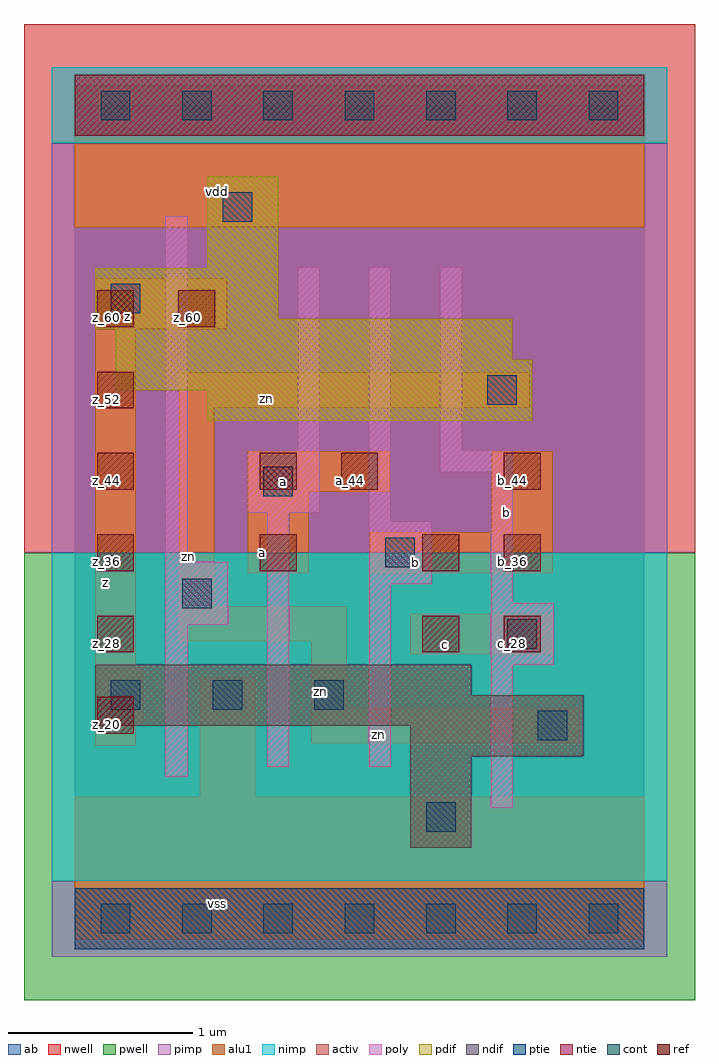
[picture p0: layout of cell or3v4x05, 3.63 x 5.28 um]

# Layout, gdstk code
import gdstk
lib = gdstk.Library(unit=1e-6, precision=2.5e-09)
def R(c, l, rs):  # rectangles x0, y0, x1, y1
    for r in rs: c.add(gdstk.rectangle(r[:2], r[2:], *l))
def A(c, l, x, y, w, h, nx, ny, dx, dy):  # array of equal rectangles
    R(c, l, [(x+i*dx, y+j*dy, x+i*dx+w, y+j*dy+h) for i in range(nx) for j in range(ny)])
ndif = (3, 0)
pdif = (4, 0)
ntie = (5, 0)
ptie = (6, 0)
ref = (24, 0)
cont = (25, 0)
pwell = (41, 0)
nwell = (42, 0)
activ = (43, 0)
pimp = (44, 0)
nimp = (45, 0)
poly = (46, 0)
alu1 = (49, 0)
ab = (63, 0)

or3v4x05 = lib.new_cell('or3v4x05')
R(or3v4x05, ndif, [(1.815,0.385,2.145,0.88), (1.815,0.88,2.75,1.045), (0.11,1.045,2.75,1.21), (0.11,1.21,2.145,1.375)])
R(or3v4x05, pdif, [(0.715,2.695,2.475,2.86), (0.22,2.86,2.475,3.025), (0.22,3.025,2.365,3.19), (0.11,3.19,2.365,3.245), (0.11,3.245,1.1,3.52), (0.715,3.52,1.1,4.015)])
R(or3v4x05, ntie, [(0,4.235,3.08,4.565)])
R(or3v4x05, ptie, [(0,-0.165,3.08,0.165)])
A(or3v4x05, ref, 2.32, 1.44, 0.2, 0.2, 1, 3, 0, 0.44)
A(or3v4x05, ref, 0.12, 1.88, 0.2, 0.2, 3, 1, 0.88, 0)
A(or3v4x05, ref, 0.12, 2.32, 0.2, 0.2, 1, 3, 0, 0.44)
R(or3v4x05, ref, [(0.12,1,0.32,1.2), (0.12,1.44,0.32,1.64), (1.88,1.44,2.08,1.64), (1,2.32,1.2,2.52), (1.44,2.32,1.64,2.52), (0.56,3.2,0.76,3.4)])
A(or3v4x05, cont, 0.14, -0.08, 0.16, 0.16, 7, 2, 0.44, 4.4)
A(or3v4x05, cont, 0.195, 1.13, 0.16, 0.16, 3, 1, 0.55, 0)
R(or3v4x05, cont, [(1.9,0.47,2.06,0.63), (2.505,0.965,2.665,1.125), (2.34,1.46,2.5,1.62), (0.58,1.68,0.74,1.84), (1.68,1.9,1.84,2.06), (1.02,2.285,1.18,2.445), (2.23,2.78,2.39,2.94), (0.195,3.275,0.355,3.435), (0.8,3.77,0.96,3.93)])
R(or3v4x05, pwell, [(-0.275,-0.44,3.355,1.98)])
R(or3v4x05, nwell, [(-0.275,1.98,3.355,4.84)])
R(or3v4x05, activ, [(0,-0.165,3.08,0.165), (1.815,0.385,2.145,0.88), (1.815,0.88,2.75,1.045), (0.11,1.045,2.75,1.21), (0.11,1.21,2.145,1.375), (0.715,2.695,2.475,2.86), (0.22,2.86,2.475,3.025), (0.22,3.025,2.365,3.19), (0.11,3.19,2.365,3.245), (0.11,3.245,1.1,3.52), (0.715,3.52,1.1,4.015), (0,4.235,3.08,4.565)])
R(or3v4x05, pimp, [(-0.125,-0.205,3.205,0.205), (-0.125,1.98,3.205,4.195)])
R(or3v4x05, nimp, [(-0.125,0.205,3.205,1.98), (-0.125,4.195,3.205,4.605)])
R(or3v4x05, poly, [(2.25,0.6,2.37,1.37), (0.49,0.765,0.61,1.59), (1.04,0.82,1.16,2.195), (1.59,0.82,1.71,1.81), (2.25,1.37,2.59,1.71), (0.49,1.59,0.83,1.93), (2.25,1.71,2.37,2.415), (1.59,1.81,1.93,2.15), (0.49,1.93,0.61,3.8), (1.59,2.15,1.71,3.525), (0.93,2.195,1.325,2.535), (1.975,2.415,2.37,2.535), (1.205,2.535,1.325,3.525), (1.975,2.535,2.095,3.525)])
R(or3v4x05, alu1, [(0,-0.11,3.08,0.66), (0.675,0.66,0.975,1.305), (0.11,0.935,0.33,1.06), (1.28,0.95,2.735,1.14), (0.11,1.06,0.37,1.36), (1.28,1.14,1.47,1.5), (0.11,1.36,0.33,3.19), (1.815,1.43,2.585,1.65), (0.565,1.5,1.47,1.69), (0.565,1.69,0.755,2.765), (0.935,1.87,1.265,2.31), (1.595,1.87,2.585,2.09), (2.255,2.09,2.585,2.53), (0.935,2.31,1.705,2.53), (0.565,2.765,2.46,2.955), (0.11,3.19,0.825,3.465), (0,3.74,3.08,4.51)])
R(or3v4x05, ab, [(0,0,3.08,4.4)])
or3v4x05.add(gdstk.Label('vss', (0.77,0.0825), layer=49, texttype=0))
or3v4x05.add(gdstk.Label('zn', (1.6425,0.9975), layer=49, texttype=0))
or3v4x05.add(gdstk.Label('c', (2.0075,1.485), layer=49, texttype=0))
or3v4x05.add(gdstk.Label('zn', (1.3275,1.23), layer=49, texttype=0))
or3v4x05.add(gdstk.Label('b', (1.8425,1.925), layer=49, texttype=0))
or3v4x05.add(gdstk.Label('b', (2.3375,2.2), layer=49, texttype=0))
or3v4x05.add(gdstk.Label('a', (1.0175,1.98), layer=49, texttype=0))
or3v4x05.add(gdstk.Label('a', (1.1275,2.365), layer=49, texttype=0))
or3v4x05.add(gdstk.Label('zn', (0.6125,1.9575), layer=49, texttype=0))
or3v4x05.add(gdstk.Label('zn', (1.0375,2.8125), layer=49, texttype=0))
or3v4x05.add(gdstk.Label('z', (0.165,1.8175), layer=49, texttype=0))
or3v4x05.add(gdstk.Label('z', (0.2875,3.2575), layer=49, texttype=0))
or3v4x05.add(gdstk.Label('vdd', (0.77,3.9325), layer=49, texttype=0))
or3v4x05.add(gdstk.Label('z_60', (0.61,3.25), layer=24, texttype=0))
or3v4x05.add(gdstk.Label('a_36', (1.05,1.93), layer=24, texttype=0))
or3v4x05.add(gdstk.Label('a_44', (1.05,2.37), layer=24, texttype=0))
or3v4x05.add(gdstk.Label('a_44', (1.49,2.37), layer=24, texttype=0))
or3v4x05.add(gdstk.Label('c_28', (1.93,1.49), layer=24, texttype=0))
or3v4x05.add(gdstk.Label('b_36', (1.93,1.93), layer=24, texttype=0))
or3v4x05.add(gdstk.Label('z_20', (0.17,1.05), layer=24, texttype=0))
or3v4x05.add(gdstk.Label('z_28', (0.17,1.49), layer=24, texttype=0))
or3v4x05.add(gdstk.Label('z_36', (0.17,1.93), layer=24, texttype=0))
or3v4x05.add(gdstk.Label('z_44', (0.17,2.37), layer=24, texttype=0))
or3v4x05.add(gdstk.Label('z_52', (0.17,2.81), layer=24, texttype=0))
or3v4x05.add(gdstk.Label('z_60', (0.17,3.25), layer=24, texttype=0))
or3v4x05.add(gdstk.Label('c_28', (2.37,1.49), layer=24, texttype=0))
or3v4x05.add(gdstk.Label('b_36', (2.37,1.93), layer=24, texttype=0))
or3v4x05.add(gdstk.Label('b_44', (2.37,2.37), layer=24, texttype=0))

lib.write_gds('or3v4x05.gds')
